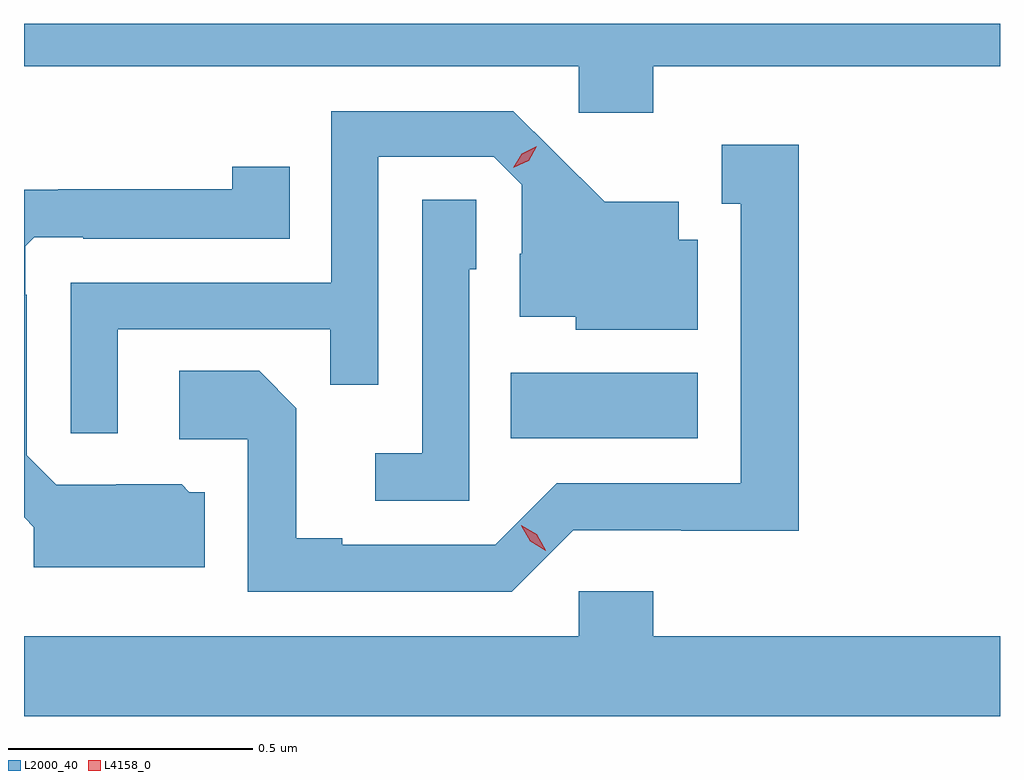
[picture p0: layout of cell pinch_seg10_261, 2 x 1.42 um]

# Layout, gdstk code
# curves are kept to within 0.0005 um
import gdstk
lib = gdstk.Library(unit=1e-6, precision=1e-09)
def R(c, l, rs):  # rectangles x0, y0, x1, y1
    for r in rs: c.add(gdstk.rectangle(r[:2], r[2:], *l))
def P(c, l, *ps):  # polygons
    for p in ps: c.add(gdstk.Polygon(p, *l))
L2000_40 = (2000, 40)
L4158_0 = (4158, 0)

pinch_seg10_261 = lib.new_cell('pinch_seg10_261')
R(pinch_seg10_261, L2000_40, [(591.358,1302.218,591.742,1302.352)])
P(pinch_seg10_261, L2000_40, [(591.65,1302.98),(592.361,1302.98),(592.361,1303.068),(590.361,1303.068),(590.361,1302.98),(591.498,1302.98),(591.498,1302.885),(591.65,1302.885)],
  [(590.553,1302.441),(590.989,1302.441),(590.989,1302.328),(591.087,1302.328),(591.087,1302.795),(591.324,1302.795),(591.381,1302.738),(591.381,1302.596),(591.377,1302.596),(591.377,1302.467),(591.492,1302.467),(591.492,1302.44),(591.742,1302.44),(591.742,1302.625),(591.703,1302.625),(591.703,1302.703),(591.551,1302.703),(591.364,1302.888),(590.991,1302.888),(590.991,1302.537),(590.457,1302.537),(590.457,1302.228),(590.553,1302.228)],
  [(591.486,1302.03),(591.708,1302.03),(591.708,1302.029),(591.949,1302.029),(591.949,1302.82),(591.791,1302.82),(591.791,1302.699),(591.83,1302.699),(591.83,1302.126),(591.453,1302.126),(591.327,1302),(591.013,1302),(591.013,1302.013),(590.919,1302.013),(590.919,1302.28),(590.843,1302.356),(590.679,1302.356),(590.679,1302.216),(590.82,1302.216),(590.82,1301.904),(591.36,1301.904)],
  [(590.731,1302.108),(590.7,1302.108),(590.684,1302.124),(590.55,1302.124),(590.55,1302.123),(590.427,1302.123),(590.367,1302.183),(590.367,1302.512),(590.364,1302.512),(590.364,1302.612),(590.382,1302.63),(590.482,1302.63),(590.482,1302.627),(590.906,1302.627),(590.906,1302.775),(590.788,1302.775),(590.788,1302.728),(590.431,1302.728),(590.431,1302.727),(590.361,1302.727),(590.361,1302.056),(590.381,1302.036),(590.381,1301.954),(590.731,1301.954)],
  [(591.273,1302.564),(591.288,1302.564),(591.288,1302.707),(591.177,1302.707),(591.177,1302.187),(591.081,1302.187),(591.081,1302.09),(591.273,1302.09)],
  [(592.361,1301.812),(591.65,1301.812),(591.65,1301.905),(591.498,1301.905),(591.498,1301.812),(590.361,1301.812),(590.361,1301.648),(592.361,1301.648)])
P(pinch_seg10_261, L4158_0, [(591.43,1301.988),(591.398,1302.007),(591.38,1302.039),(591.38,1302.04),(591.38,1302.04),(591.412,1302.021),(591.43,1301.989),(591.43,1301.988)],
  [(591.364,1302.772),(591.364,1302.772),(591.381,1302.801),(591.412,1302.816),(591.412,1302.816),(591.412,1302.816),(591.395,1302.787),(591.364,1302.772)])

lib.write_gds('pinch_seg10_261.gds')
